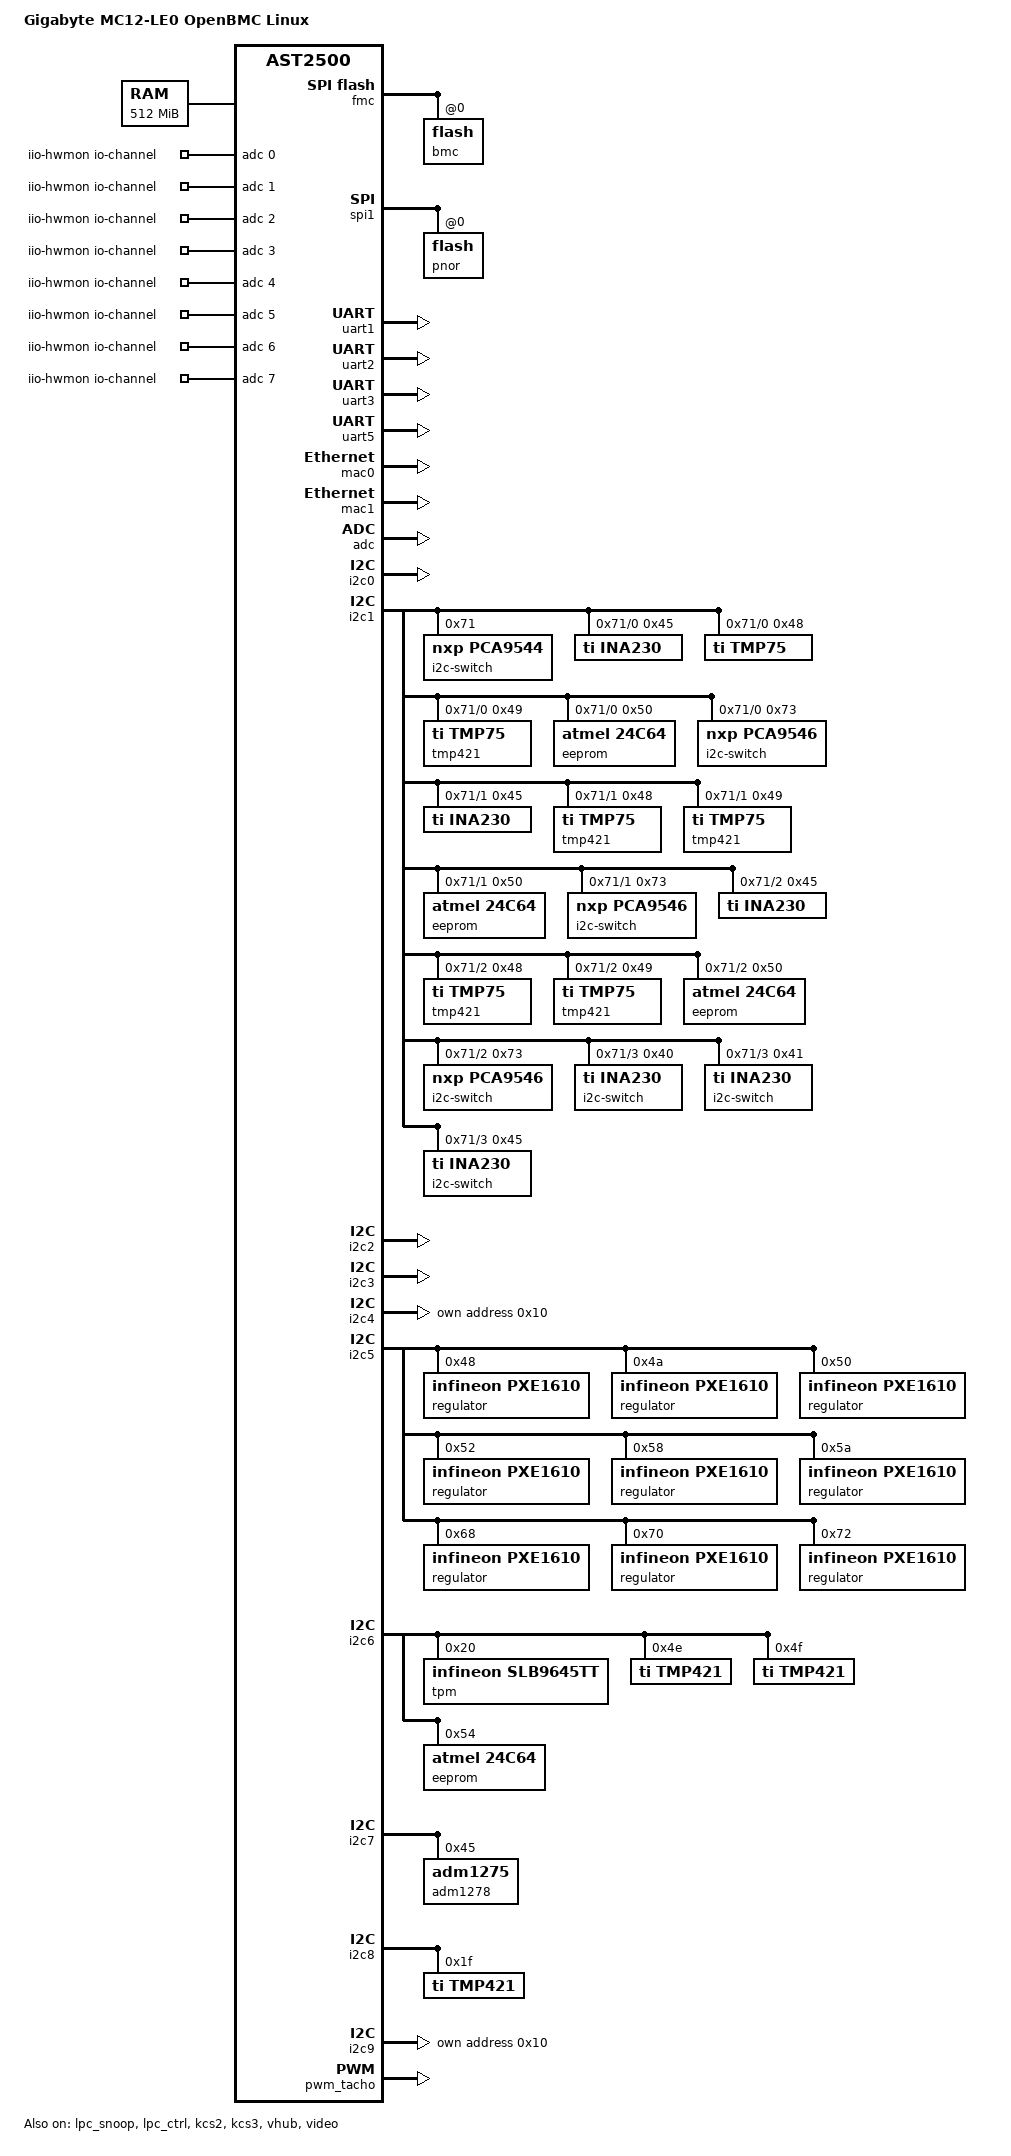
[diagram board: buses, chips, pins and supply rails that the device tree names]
// SPDX-License-Identifier: GPL-2.0+
// Copyright (c) 2018 Facebook Inc.
// Author: Vijay Khemka <vijaykhemka@fb.com>
/dts-v1/;

#include "aspeed/aspeed-g5.dtsi"
#include <dt-bindings/gpio/aspeed-gpio.h>
#include <dt-bindings/i2c/i2c.h>

/ {
        model = "Gigabyte MC12-LE0 OpenBMC Linux";
        compatible = "aspeed,mc12-le0-bmc", "aspeed,ast2500";
        aliases {
                serial0 = &uart1;
                serial4 = &uart5;

        };
        chosen {
                stdout-path = &uart5;
                bootargs = "console=ttyS4,115200 earlycon";
        };

        memory@80000000 {
                reg = <0x80000000 0x20000000>;
        };

        reserved-memory {
                #address-cells = <1>;
                #size-cells = <1>;
                ranges;

                video_engine_memory: jpegbuffer {
                        size = <0x02000000>;    /* 32M */
                        alignment = <0x01000000>;
                        compatible = "shared-dma-pool";
                        reusable;
                };
        };

        iio-hwmon {
                compatible = "iio-hwmon";
                io-channels = <&adc 0>, <&adc 1>, <&adc 2>, <&adc 3>,
                              <&adc 4>, <&adc 5>, <&adc 6>, <&adc 7>;
        };

};

&fmc {
        status = "okay";
        flash@0 {
                status = "okay";
                m25p,fast-read;
                label = "bmc";
#include "aspeed/openbmc-flash-layout-64.dtsi"
        };
};

&spi1 {
        status = "okay";
        pinctrl-names = "default";
        pinctrl-0 = <&pinctrl_spi1_default>;
        flash@0 {
                status = "okay";
                m25p,fast-read;
                label = "pnor";
        };
};

&lpc_snoop {
        status = "okay";
        snoop-ports = <0x80>;
};

&lpc_ctrl {
        // Enable lpc clock
        status = "okay";
};

&uart1 {
        // Host Console
        status = "okay";
        pinctrl-names = "default";
        pinctrl-0 = <&pinctrl_txd1_default
                     &pinctrl_rxd1_default>;
};

&uart2 {
        // SoL Host Console
        status = "okay";
};

&uart3 {
        // SoL BMC Console
        status = "okay";
};

&uart5 {
        // BMC Console
        status = "okay";
};

&kcs2 {
        // BMC KCS channel 2
        status = "okay";
        aspeed,lpc-io-reg = <0xca8>;
};

&kcs3 {
        // BMC KCS channel 3
        status = "okay";
        aspeed,lpc-io-reg = <0xca2>;
};

&gpio {
        status = "okay";
        gpio-line-names =
        /*A0-A7*/       "","","","","","","","",
        /*B0-B7*/       "","","","","","","","",
        /*C0-C7*/       "","","","","","","","",
        /*D0-D7*/       "","","","","","","","",
        /*E0-E7*/       "","","","","","","","",
        /*F0-F7*/       "","","","","","","","",
        /*G0-G7*/       "","","","","","","","",
        /*H0-H7*/       "","","","","","","","",
        /*I0-I7*/       "","","","","","","","",
        /*J0-J7*/       "","","","","","","","",
        /*K0-K7*/       "","","","","","","","",
        /*L0-L7*/       "","","","","","","","",
        /*M0-M7*/       "","","","","","","","",
        /*N0-N7*/       "","","","","","","","",
        /*O0-O7*/       "","","","","","","","",
        /*P0-P7*/       "","","","","","","","",
        /*Q0-Q7*/       "","","","","","","ID_BUTTON","",
        /*R0-R7*/       "","","","","","","","",
        /*S0-S7*/       "","","","","","","","",
        /*T0-T7*/       "","","","","","","","",
        /*U0-U7*/       "","","","","","","","",
        /*V0-V7*/       "","","","","","","","",
        /*W0-W7*/       "","","","","","","","",
        /*X0-X7*/       "","","","","","","","",
        /*Y0-Y7*/       "","","","","","","","",
        /*Z0-Z7*/       "","","","","","","","",
        /*AA0-AA7*/     "","","","","","","","",
        /*AB0-AB7*/     "","","","","","","","",
        /*AC0-AC7*/     "","","","","","","","";
};

&mac0 {
        status = "okay";

        pinctrl-names = "default";
        pinctrl-0 = <&pinctrl_rmii1_default>;
        clocks = <&syscon ASPEED_CLK_GATE_MAC1CLK>,
                 <&syscon ASPEED_CLK_MAC1RCLK>;
        clock-names = "MACCLK", "RCLK";
        use-ncsi;
};

&mac1 {
        status = "okay";

        pinctrl-names = "default";
        pinctrl-0 = <&pinctrl_rgmii2_default &pinctrl_mdio2_default>;
};

&vhub {
        status = "okay";
};

&adc {
        status = "okay";
};

&video {
        status = "okay";
        memory-region = <&video_engine_memory>;
};

&i2c0 {
        status = "okay";
        //Airmax Conn B, CPU0 PIROM, CPU1 PIROM
};

&i2c1 {
        status = "okay";
        //X24 Riser
        i2c-switch@71 {
                compatible = "nxp,pca9544";
                #address-cells = <1>;
                #size-cells = <0>;
                reg = <0x71>;

                imux16: i2c@0 {
                        #address-cells = <1>;
                        #size-cells = <0>;
                        reg = <0>;

                        ina230@45 {
                                compatible = "ti,ina230";
                                reg = <0x45>;
                        };

                        tmp75@48 {
                                compatible = "ti,tmp75";
                                reg = <0x48>;
                        };

                        tmp421@49 {
                                compatible = "ti,tmp75";
                                reg = <0x49>;
                        };

                        eeprom@50 {
                                compatible = "atmel,24c64";
                                reg = <0x50>;
                                pagesize = <32>;
                        };

                        i2c-switch@73 {
                                compatible = "nxp,pca9546";
                                #address-cells = <1>;
                                #size-cells = <0>;
                                reg = <0x73>;

                                imux20: i2c@0 {
                                        #address-cells = <1>;
                                        #size-cells = <0>;
                                        reg = <0>;
                                };

                                imux21: i2c@1 {
                                        #address-cells = <1>;
                                        #size-cells = <0>;
                                        reg = <1>;
                                };

                                imux22: i2c@2 {
                                        #address-cells = <1>;
                                        #size-cells = <0>;
                                        reg = <2>;
                                };

                                imux23: i2c@3 {
                                        #address-cells = <1>;
                                        #size-cells = <0>;
                                        reg = <3>;
                                };

                        };

                };

                imux17: i2c@1 {
                        #address-cells = <1>;
                        #size-cells = <0>;
                        reg = <1>;

                        ina230@45 {
                                compatible = "ti,ina230";
                                reg = <0x45>;
                        };

                        tmp421@48 {
                                compatible = "ti,tmp75";
                                reg = <0x48>;
                        };

                        tmp421@49 {
                                compatible = "ti,tmp75";
                                reg = <0x49>;
                        };

                        eeprom@50 {
                                compatible = "atmel,24c64";
                                reg = <0x50>;
                                pagesize = <32>;
                        };

                        i2c-switch@73 {
                                compatible = "nxp,pca9546";
                                #address-cells = <1>;
                                #size-cells = <0>;
                                reg = <0x73>;

                                imux24: i2c@0 {
                                        #address-cells = <1>;
                                        #size-cells = <0>;
                                        reg = <0>;
                                };

                                imux25: i2c@1 {
                                        #address-cells = <1>;
                                        #size-cells = <0>;
                                        reg = <1>;
                                };

                                imux26: i2c@2 {
                                        #address-cells = <1>;
                                        #size-cells = <0>;
                                        reg = <2>;
                                };

                                imux27: i2c@3 {
                                        #address-cells = <1>;
                                        #size-cells = <0>;
                                        reg = <3>;
                                };

                        };

                };

                imux18: i2c@2 {
                        #address-cells = <1>;
                        #size-cells = <0>;
                        reg = <2>;

                        ina230@45 {
                                compatible = "ti,ina230";
                                reg = <0x45>;
                        };

                        tmp421@48 {
                                compatible = "ti,tmp75";
                                reg = <0x48>;
                        };

                        tmp421@49 {
                                compatible = "ti,tmp75";
                                reg = <0x49>;
                        };

                        eeprom@50 {
                                compatible = "atmel,24c64";
                                reg = <0x50>;
                                pagesize = <32>;
                        };

                        i2c-switch@73 {
                                compatible = "nxp,pca9546";
                                #address-cells = <1>;
                                #size-cells = <0>;
                                reg = <0x73>;

                                imux28: i2c@0 {
                                        #address-cells = <1>;
                                        #size-cells = <0>;
                                        reg = <0>;
                                };

                                imux29: i2c@1 {
                                        #address-cells = <1>;
                                        #size-cells = <0>;
                                        reg = <1>;
                                };

                                imux30: i2c@2 {
                                        #address-cells = <1>;
                                        #size-cells = <0>;
                                        reg = <2>;
                                };

                                imux31: i2c@3 {
                                        #address-cells = <1>;
                                        #size-cells = <0>;
                                        reg = <3>;
                                };

                        };

                };

                imux19: i2c@3 {
                        #address-cells = <1>;
                        #size-cells = <0>;
                        reg = <3>;

                        i2c-switch@40 {
                                compatible = "ti,ina230";
                                reg = <0x40>;
                        };

                        i2c-switch@41 {
                                compatible = "ti,ina230";
                                reg = <0x41>;
                        };

                        i2c-switch@45 {
                                compatible = "ti,ina230";
                                reg = <0x45>;
                        };

                };

        };
};

&i2c2 {
        status = "okay";
        // Mezz Management SMBus
};

&i2c3 {
        status = "okay";
        // SMBus to Board ID EEPROM
};

&i2c4 {
        status = "okay";
        // BMC Debug Header
        ipmb0@10 {
                compatible = "ipmb-dev";
                reg = <(0x10 | I2C_OWN_SLAVE_ADDRESS)>;
                i2c-protocol;
        };
};

&i2c5 {
        status = "okay";
        // CPU Voltage regulators
        regulator@48 {
                compatible = "infineon,pxe1610";
                reg = <0x48>;
        };
        regulator@4a {
                compatible = "infineon,pxe1610";
                reg = <0x4a>;
        };
        regulator@50 {
                compatible = "infineon,pxe1610";
                reg = <0x50>;
        };
        regulator@52 {
                compatible = "infineon,pxe1610";
                reg = <0x52>;
        };
        regulator@58 {
                compatible = "infineon,pxe1610";
                reg = <0x58>;
        };
        regulator@5a {
                compatible = "infineon,pxe1610";
                reg = <0x5a>;
        };
        regulator@68 {
                compatible = "infineon,pxe1610";
                reg = <0x68>;
        };
        regulator@70 {
                compatible = "infineon,pxe1610";
                reg = <0x70>;
        };
        regulator@72 {
                compatible = "infineon,pxe1610";
                reg = <0x72>;
        };
};

&i2c6 {
        status = "okay";
        tpm@20 {
                compatible = "infineon,slb9645tt";
                reg = <0x20>;
        };
        tmp421@4e {
                compatible = "ti,tmp421";
                reg = <0x4e>;
        };
        tmp421@4f {
                compatible = "ti,tmp421";
                reg = <0x4f>;
        };
        eeprom@54 {
                compatible = "atmel,24c64";
                reg = <0x54>;
                pagesize = <32>;
        };
};

&i2c7 {
        status = "okay";
        //HSC, AirMax Conn A
        adm1278@45 {
                compatible = "adm1275";
                reg = <0x45>;
                shunt-resistor-micro-ohms = <250>;
        };
};

&i2c8 {
        status = "okay";
        tmp421@1f {
                compatible = "ti,tmp421";
                reg = <0x1f>;
        };
        //Mezz Sensor SMBus
};

&i2c9 {
        status = "okay";
        //USB Debug Connector
        ipmb0@10 {
                compatible = "ipmb-dev";
                reg = <(0x10 | I2C_OWN_SLAVE_ADDRESS)>;
                i2c-protocol;
        };
};

&pwm_tacho {
        status = "okay";
        pinctrl-names = "default";
        pinctrl-0 = <&pinctrl_pwm0_default &pinctrl_pwm1_default>;
        fan@0 {
                reg = <0x00>;
                aspeed,fan-tach-ch = /bits/ 8 <0x00>;
        };

        fan@1 {
                reg = <0x01>;
                aspeed,fan-tach-ch = /bits/ 8 <0x02>;
        };
};
